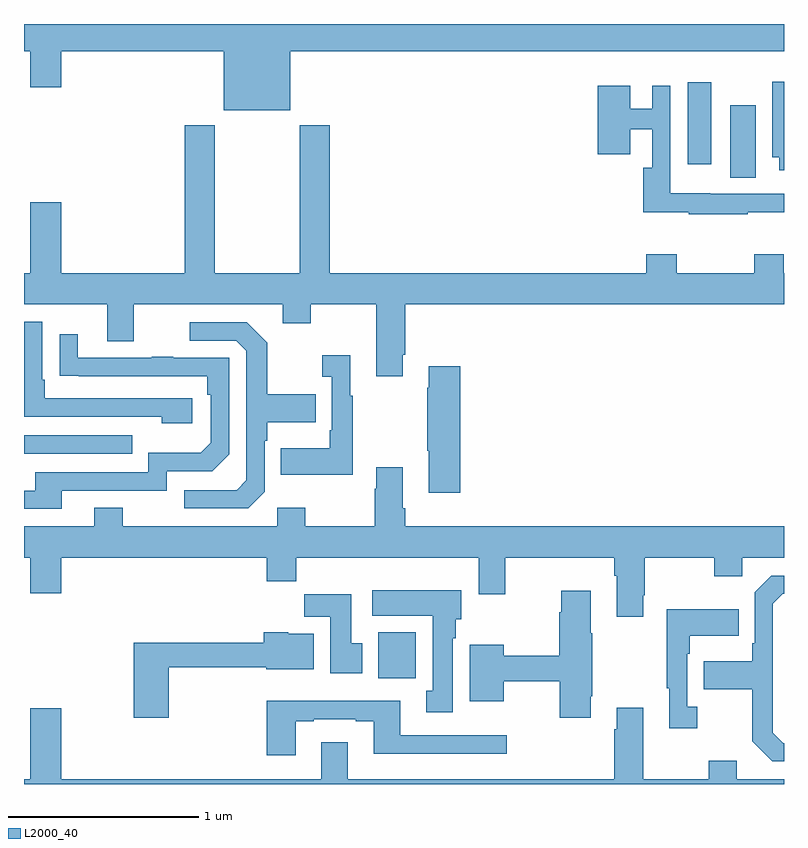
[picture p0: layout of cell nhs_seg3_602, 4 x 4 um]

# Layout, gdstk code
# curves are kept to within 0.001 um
import gdstk
lib = gdstk.Library(unit=1e-6, precision=1e-09)
def R(c, l, rs):  # rectangles x0, y0, x1, y1
    for r in rs: c.add(gdstk.rectangle(r[:2], r[2:], *l))
def P(c, l, *ps):  # polygons
    for p in ps: c.add(gdstk.Polygon(p, *l))
L2000_40 = (2000, 40)

nhs_seg3_602 = lib.new_cell('nhs_seg3_602')
R(nhs_seg3_602, L2000_40, [(142.865,690.956,143.062,691.198), (141,692.139,141.569,692.235), (144.716,693.592,144.85,693.973), (144.494,693.663,144.616,694.093)])
P(nhs_seg3_602, L2000_40, [(142.402,694.256),(145,694.256),(145,694.4),(141,694.4),(141,694.256),(141.032,694.256),(141.032,694.068),(141.196,694.068),(141.196,694.256),(142.052,694.256),(142.052,693.947),(142.402,693.947)],
  [(145,694.096),(144.938,694.096),(144.938,693.698),(144.974,693.698),(144.974,693.63),(145,693.63)],
  [(144.809,693.409),(145,693.409),(145,693.507),(144.612,693.507),(144.612,693.508),(144.402,693.508),(144.402,694.075),(144.306,694.075),(144.306,693.955),(144.19,693.955),(144.19,694.075),(144.02,694.075),(144.02,693.714),(144.19,693.714),(144.19,693.845),(144.306,693.845),(144.306,693.643),(144.26,693.643),(144.26,693.409),(144.499,693.409),(144.499,693.399),(144.809,693.399)],
  [(142.361,692.825),(142.509,692.825),(142.509,692.924),(142.853,692.924),(142.853,692.547),(142.993,692.547),(142.993,692.659),(143.006,692.659),(143.006,692.924),(145,692.924),(145,693.088),(144.999,693.088),(144.999,693.187),(144.844,693.187),(144.844,693.088),(144.435,693.088),(144.435,693.187),(144.275,693.187),(144.275,693.088),(142.61,693.088),(142.61,693.868),(142.45,693.868),(142.45,693.088),(142.005,693.088),(142.005,693.868),(141.845,693.868),(141.845,693.088),(141.196,693.088),(141.196,693.463),(141.032,693.463),(141.032,693.088),(141,693.088),(141,692.924),(141.437,692.924),(141.437,692.73),(141.577,692.73),(141.577,692.924),(142.361,692.924)],
  [(141.886,692.43),(141.109,692.43),(141.109,692.527),(141.096,692.527),(141.096,692.832),(141,692.832),(141,692.334),(141.725,692.334),(141.725,692.3),(141.886,692.3)],
  [(142.266,691.938),(142.266,692.207),(142.279,692.207),(142.279,692.303),(142.535,692.303),(142.535,692.451),(142.279,692.451),(142.279,692.723),(142.173,692.829),(141.873,692.829),(141.873,692.733),(142.116,692.733),(142.17,692.679),(142.17,691.998),(142.119,691.947),(141.843,691.947),(141.843,691.851),(142.179,691.851)],
  [(141.199,691.944),(141.75,691.944),(141.75,692.046),(141.99,692.046),(142.08,692.136),(142.08,692.643),(141.785,692.643),(141.785,692.648),(141.673,692.648),(141.673,692.643),(141.283,692.643),(141.283,692.767),(141.187,692.767),(141.187,692.548),(141.964,692.547),(141.964,692.45),(141.984,692.45),(141.984,692.196),(141.931,692.143),(141.654,692.143),(141.654,692.04),(141.059,692.04),(141.059,691.944),(141,691.944),(141,691.848),(141.199,691.848)],
  [(142.729,692.443),(142.717,692.443),(142.717,692.656),(142.569,692.656),(142.569,692.543),(142.62,692.543),(142.62,692.263),(142.608,692.263),(142.608,692.167),(142.351,692.167),(142.351,692.027),(142.729,692.027)],
  [(143.297,692.599),(143.129,692.599),(143.129,692.486),(143.122,692.486),(143.122,692.155),(143.129,692.155),(143.129,691.932),(143.297,691.932)],
  [(144.259,691.393),(144.267,691.393),(144.267,691.592),(144.634,691.592),(144.634,691.493),(144.78,691.493),(144.78,691.592),(145,691.592),(145,691.756),(143.006,691.756),(143.006,691.852),(142.993,691.852),(142.993,692.068),(142.853,692.068),(142.853,691.955),(142.846,691.955),(142.846,691.756),(142.479,691.756),(142.479,691.855),(142.332,691.855),(142.332,691.756),(141.519,691.756),(141.519,691.855),(141.371,691.855),(141.371,691.756),(141,691.756),(141,691.592),(141.032,691.592),(141.032,691.404),(141.196,691.404),(141.196,691.592),(142.277,691.592),(142.277,691.468),(142.433,691.468),(142.433,691.592),(143.393,691.592),(143.393,691.398),(143.533,691.398),(143.533,691.592),(144.107,691.592),(144.107,691.496),(144.119,691.496),(144.119,691.281),(144.259,691.281)],
  [(145,690.615),(144.996,690.615),(144.942,690.669),(144.942,691.35),(144.993,691.401),(145,691.401),(145,691.497),(144.933,691.497),(144.846,691.41),(144.846,691.141),(144.834,691.141),(144.834,691.045),(144.577,691.045),(144.577,690.898),(144.834,690.898),(144.834,690.625),(144.939,690.519),(145,690.519)],
  [(143.257,691.166),(143.272,691.166),(143.272,691.266),(143.302,691.266),(143.302,691.42),(142.833,691.42),(142.833,691.286),(143.15,691.286),(143.15,690.89),(143.117,690.89),(143.117,690.777),(143.257,690.777)],
  [(143.983,690.862),(143.991,690.862),(143.991,691.193),(143.983,691.193),(143.983,691.417),(143.828,691.417),(143.828,691.304),(143.816,691.304),(143.816,691.076),(143.524,691.076),(143.524,691.132),(143.345,691.132),(143.345,690.836),(143.524,690.836),(143.524,690.94),(143.821,690.94),(143.821,690.75),(143.983,690.75)],
  [(142.78,691.14),(142.723,691.14),(142.723,691.399),(142.474,691.399),(142.474,691.28),(142.613,691.28),(142.613,690.984),(142.78,690.984)],
  [(144.544,690.806),(144.492,690.806),(144.492,691.085),(144.505,691.085),(144.505,691.181),(144.761,691.181),(144.761,691.321),(144.384,691.321),(144.384,690.905),(144.395,690.905),(144.395,690.693),(144.544,690.693)],
  [(141.761,691.015),(142.274,691.015),(142.274,691.004),(142.525,691.004),(142.525,691.192),(142.392,691.192),(142.392,691.198),(142.262,691.198),(142.262,691.144),(141.578,691.144),(141.578,690.75),(141.761,690.75)],
  [(142.429,690.729),(142.525,690.729),(142.525,690.741),(142.745,690.741),(142.745,690.729),(142.841,690.729),(142.841,690.56),(143.542,690.56),(143.542,690.657),(142.981,690.657),(142.981,690.838),(142.277,690.838),(142.277,690.552),(142.429,690.552)],
  [(145,690.424),(144.751,690.424),(144.751,690.523),(144.604,690.523),(144.604,690.424),(144.259,690.424),(144.259,690.802),(144.119,690.802),(144.119,690.689),(144.107,690.689),(144.107,690.424),(142.705,690.424),(142.705,690.619),(142.565,690.619),(142.565,690.424),(141.196,690.424),(141.196,690.799),(141.032,690.799),(141.032,690.424),(141,690.424),(141,690.4),(145,690.4)])

lib.write_gds('nhs_seg3_602.gds')
